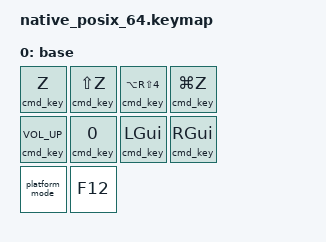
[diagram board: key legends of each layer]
#include <behaviors.dtsi>
#include <dt-bindings/zmk/keys.h>
#include <dt-bindings/zmk/kscan_mock.h>

/ {
    behaviors {
        cmd_key: cmdkey {
            compatible = "zmk,behavior-toucan-command-key";
            #binding-cells = <1>;
        };
        platform_mode: osmode {
            compatible = "zmk,behavior-toucan-platform-toggle";
            #binding-cells = <0>;
        };
    };

    keymap {
        compatible = "zmk,keymap";
        base {
            bindings = <
                &cmd_key Z &cmd_key LS(Z) &cmd_key LA(RS(N4)) &cmd_key LG(Z)
                &cmd_key C_VOL_UP &cmd_key 0 &cmd_key LGUI &cmd_key RGUI
                &platform_mode &kp F12
            >;
        };
    };
};

#define TAP(position) ZMK_MOCK_PRESS(0,position,20) ZMK_MOCK_RELEASE(0,position,20)
#define SHORTCUTS TAP(0) TAP(1) TAP(2) TAP(3) TAP(4) TAP(5) TAP(6) TAP(7)

&kscan {
    rows = <1>;
    columns = <10>;
    events = <
        /* macOS, then the identical bindings in Windows mode. */
        SHORTCUTS
        TAP(8)
        SHORTCUTS
        TAP(8)

        /* Release must match the macOS press even after switching to Windows. */
        ZMK_MOCK_PRESS(0,1,20)
        TAP(8)
        ZMK_MOCK_RELEASE(0,1,20)
        TAP(1) /* A fresh press at the same position now uses Windows mode. */

        TAP(9) /* Sentinel: all expected presses and releases must have arrived. */
    >;
};
